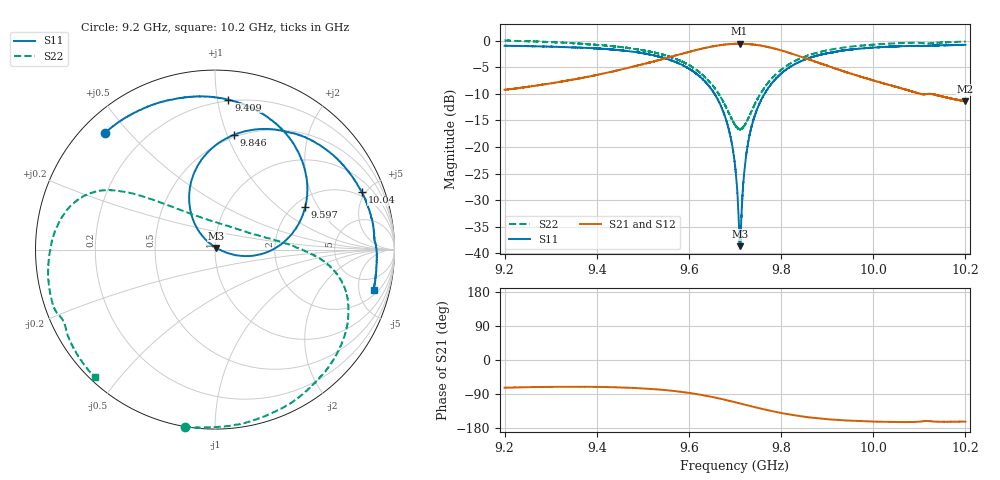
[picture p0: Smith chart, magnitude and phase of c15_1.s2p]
!Agilent Technologies,N5242A,MY51221714,A.09.90.19
!Agilent N5242A: A.09.90.19
!Date: Tuesday, March 26, 2024 15:37:25
!Correction: S11(Full 2 Port(1,2))
!S21(Full 2 Port(1,2))
!S12(Full 2 Port(1,2))
!S22(Full 2 Port(1,2))
!S2P File: Measurements: S11, S21, S12, S22:
# Hz S  dB  R 50
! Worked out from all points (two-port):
!   16001 points, 9.2 GHz to 10.2 GHz, reference 50 ohm
!   highest |S21| = -0.58 dB at 9.71 GHz (marker M1); lowest = -11.4 dB at 10.2 GHz (marker M2)
!   |S21| within 3 dB of the highest: 9.537969 GHz to 9.5381 GHz (131.5 kHz wide, 0.00138 % of centre); 9.538 GHz to 9.862 GHz (323.2 MHz wide, 3.33 % of centre)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
!   lowest |S11| = -38.7 dB at 9.711 GHz (marker M3), VSWR 1.02, Z = 50.7 + j0.967 ohm
!   |S11| at or under -10 dB: 9.65535 GHz to 9.65541 GHz (60.58 kHz wide, 0.000627 % of centre); 9.655 GHz to 9.764 GHz (108.8 MHz wide, 1.12 % of centre)
!   |S22| runs from -16.7 to 0.0 dB; largest |S21 - S12| = 0.011
!   S11 on the Smith chart (normalised r, x): 9.2 GHz: 0.07, +0.43; 9.409 GHz: 0.19, +1.08; 9.597 GHz: 2.28, +1.56; 9.846 GHz: 0.48, +1.06; 10.04 GHz: 1.70, +4.73; 10.2 GHz: 2.63, -7.02
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9.2e9  -0.98 133.3  -9.25 -73.1  -9.23 -73.7  0.01 -99.7
9.278812e9  -1.09 116.1  -8.33 -71.2  -8.33 -71.8  -0.21 -78.0
9.366688e9  -1.33 95.7  -7.04 -70.7  -7.04 -71.3  -0.62 -55.0
9.409375e9  -1.53 84.9  -6.29 -71.2  -6.29 -71.7  -0.86 -44.2
9.533375e9  -3.00 48.6  -3.70 -77.8  -3.68 -78.3  -2.40 -16.8
9.5965e9  -5.11 25.2  -2.21 -86.3  -2.20 -86.7  -4.44 -5.6
9.66625e9  -11.70 -5.4  -0.88 -101.7  -0.88 -102.2  -10.25 11.7
9.687062e9  -16.89 -14.0  -0.68 -107.6  -0.66 -108.0  -13.65 27.4
9.7e9  -23.40 -15.1  -0.61 -111.3  -0.60 -111.9  -15.82 48.1
9.710062e9  -37.74 37.0  -0.58 -114.4  -0.58 -114.9  -16.62 71.0
9.71075e9  -38.66 54.9  -0.59 -114.6  -0.59 -115.1  -16.65 72.2
9.71375e9  -33.39 111.5  -0.60 -115.6  -0.59 -116.0  -16.64 79.4
9.726312e9  -20.26 133.0  -0.63 -119.3  -0.63 -119.9  -15.07 106.0
9.74725e9  -13.09 124.9  -0.83 -125.7  -0.83 -126.2  -11.26 128.8
9.787375e9  -7.29 106.3  -1.54 -136.7  -1.54 -137.2  -6.44 142.7
9.84625e9  -3.76 80.7  -3.11 -148.9  -3.12 -149.4  -3.19 151.4
9.866688e9  -3.13 72.8  -3.73 -152.1  -3.73 -152.5  -2.58 154.3
9.934938e9  -1.85 49.9  -5.75 -159.1  -5.75 -159.6  -1.33 165.8
1.003338e10  -1.16 22.9  -8.32 -163.3  -8.32 -163.8  -0.59 -173.9
1.003938e10  -1.13 21.3  -8.46 -163.4  -8.47 -163.9  -0.56 -172.6
1.019975e10  -0.82 -14.2  -11.45 -162.5  -11.44 -163.0  -0.21 -133.3
1.02e10  -0.80 -14.3  -11.43 -162.5  -11.43 -163.0  -0.21 -133.2
